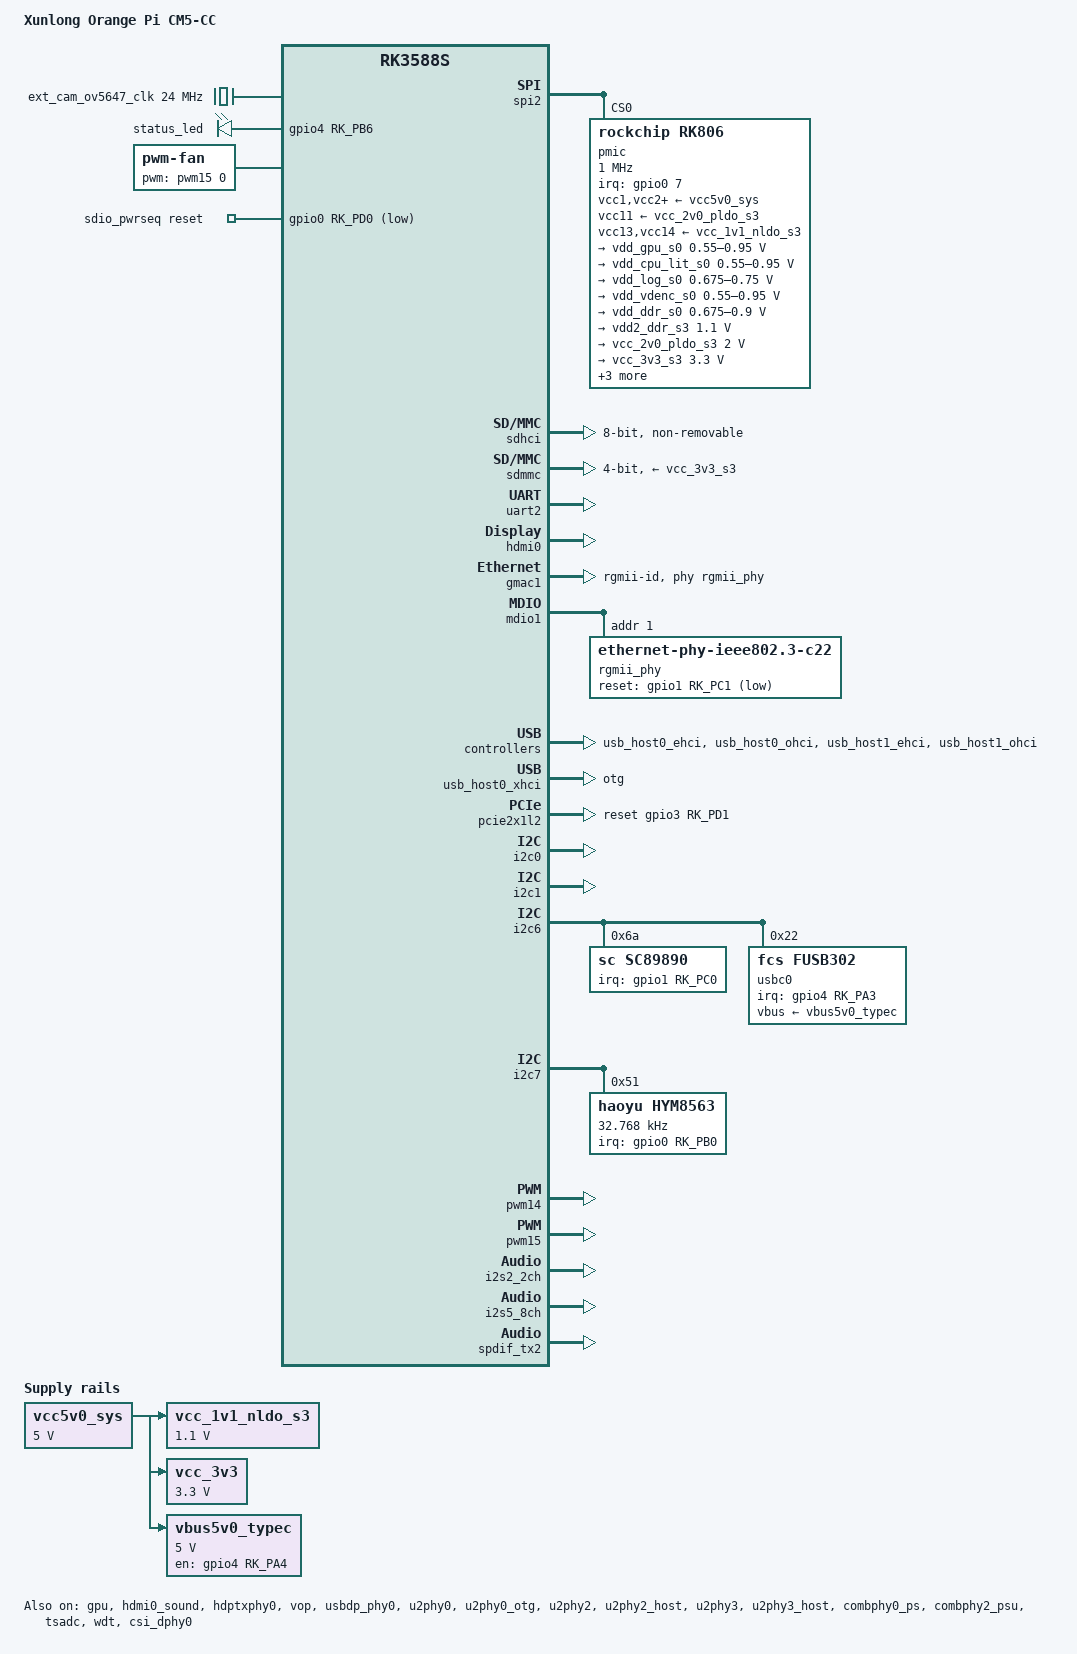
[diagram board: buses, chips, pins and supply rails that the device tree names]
// SPDX-License-Identifier: (GPL-2.0+ OR MIT)
/*
 * Device Tree for Orange Pi CM5-CC carrier board + CM5 SoM (RK3588S)
 *
 * Phase 1 baseline: serial, eMMC, HDMI, USB host, Ethernet, SD card.
 * Phase 2 additions: CSI camera, CAN, SPI, UART headers, ES8388 audio,
 *                    MIPI DSI touch, USB-C PD, SDIO Wi-Fi/BT, PCIe.
 *
 * SoM-level PMIC (RK806 via SPI2) and CPU regulators are defined here
 * because the SoM DTSI was not yet merged in the 6.18 mainline baseline.
 */

/dts-v1/;

#include <dt-bindings/gpio/gpio.h>
#include <dt-bindings/input/input.h>
#include <dt-bindings/interrupt-controller/irq.h>
#include <dt-bindings/pinctrl/rockchip.h>
#include <dt-bindings/pwm/pwm.h>
#include <dt-bindings/soc/rockchip,vop2.h>
#include <dt-bindings/usb/pd.h>

#include "rk3588s.dtsi"

/ {
	model = "Xunlong Orange Pi CM5-CC";
	compatible = "xunlong,orangepi-cm5-cc", "xunlong,orangepi-cm5",
		     "rockchip,rk3588s";

	aliases {
		ethernet0 = &gmac1;
		mmc0 = &sdhci;
		mmc1 = &sdmmc;
		serial0 = &uart2;
	};

	chosen {
		stdout-path = "serial2:1500000n8";
	};

	vcc5v0_sys: regulator-vcc-5v0 {
		compatible = "regulator-fixed";
		regulator-name = "vcc5v0_sys";
		regulator-always-on;
		regulator-boot-on;
		regulator-min-microvolt = <5000000>;
		regulator-max-microvolt = <5000000>;
	};

	vcc_1v1_nldo_s3: regulator-vcc-1v1-nldo-s3 {
		compatible = "regulator-fixed";
		regulator-name = "vcc_1v1_nldo_s3";
		regulator-always-on;
		regulator-boot-on;
		regulator-min-microvolt = <1100000>;
		regulator-max-microvolt = <1100000>;
		vin-supply = <&vcc5v0_sys>;
	};

	vcc_3v3: regulator-vcc-3v3 {
		compatible = "regulator-fixed";
		regulator-name = "vcc_3v3";
		regulator-always-on;
		regulator-boot-on;
		regulator-min-microvolt = <3300000>;
		regulator-max-microvolt = <3300000>;
		vin-supply = <&vcc5v0_sys>;
	};

	ext_cam_ov5647_clk: clk-ext-camera {
		compatible = "fixed-clock";
		#clock-cells = <0>;
		clock-frequency = <24000000>;
	};

	es8388_sound: es8388-sound {
		status = "disabled";
		compatible = "rockchip,multicodecs-card";
		rockchip,card-name = "rockchip,es8388";
		hp-det-gpio = <&gpio3 RK_PC6 GPIO_ACTIVE_HIGH>;
		io-channels = <&saradc 3>;
		io-channel-names = "adc-detect";
		keyup-threshold-microvolt = <1800000>;
		poll-interval = <100>;
		hp-con-gpio = <&gpio0 RK_PC2 GPIO_ACTIVE_HIGH>;
		rockchip,format = "i2s";
		rockchip,mclk-fs = <256>;
		rockchip,cpu = <&i2s2_2ch>;
		rockchip,codec = <&es8388>;
		rockchip,audio-routing =
			"Headphone", "LOUT1",
			"Headphone", "ROUT1",
			"Headphone", "Headphone Power",
			"Headphone", "Headphone Power",
			"LINPUT1", "Main Mic",
			"LINPUT2", "Main Mic",
			"RINPUT1", "Headset Mic",
			"RINPUT2", "Headset Mic";
		pinctrl-names = "default";
		pinctrl-0 = <&hp_det>;
		play-pause-key {
			label = "playpause";
			linux,code = <KEY_PLAYPAUSE>;
			press-threshold-microvolt = <2000>;
		};
	};

	leds: gpio-leds {
		compatible = "gpio-leds";
		pinctrl-names = "default";
		pinctrl-0 = <&led_gpio>;
		status = "okay";

		led@1 {
			gpios = <&gpio4 RK_PB6 GPIO_ACTIVE_HIGH>;
			label = "status_led";
			linux,default-trigger = "heartbeat";
		};
	};

	fan: pwm-fan {
		compatible = "pwm-fan";
		#cooling-cells = <2>;
		pwms = <&pwm15 0 50000 0>;
		cooling-levels = <0 50 100 150 200 255>;
		rockchip,temp-trips = <
			40000   2
			50000   3
			55000   4
			60000   5
			65000   5
			70000   5
		>;
	};

	sdio_pwrseq: sdio-pwrseq {
		compatible = "mmc-pwrseq-simple";
		clocks = <&hym8563>;
		clock-names = "ext_clock";
		pinctrl-names = "default";
		pinctrl-0 = <&wifi_enable_h>;
		post-power-on-delay-ms = <200>;
		reset-gpios = <&gpio0 RK_PD0 GPIO_ACTIVE_LOW>;
	};

	wireless_bluetooth: wireless-bluetooth {
		compatible = "bluetooth-platdata";
		clocks = <&hym8563>;
		clock-names = "ext_clock";
		uart_rts_gpios = <&gpio3 RK_PD2 GPIO_ACTIVE_LOW>;
		pinctrl-names = "default", "rts_gpio";
		pinctrl-0 = <&uart9m2_rtsn>,  <&bt_reset_gpio>, <&bt_wake_gpio>, <&bt_irq_gpio>;
		pinctrl-1 = <&uart9_gpios>;
		BT,reset_gpio    = <&gpio0 RK_PD3 GPIO_ACTIVE_HIGH>;
		BT,wake_gpio     = <&gpio0 RK_PC6 GPIO_ACTIVE_HIGH>;
		BT,wake_host_irq = <&gpio0 RK_PC5 GPIO_ACTIVE_HIGH>;
		status = "disabled";
	};

	wireless_wlan: wireless-wlan {
		compatible = "wlan-platdata";
		wifi_chip_type = "ap6256";
		pinctrl-names = "default";
		pinctrl-0 = <&wifi_host_wake_irq>;
		WIFI,host_wake_irq = <&gpio0 RK_PA0 GPIO_ACTIVE_HIGH>;
		WIFI,poweren_gpio = <&gpio0 RK_PD0 GPIO_ACTIVE_HIGH>;
		status = "disabled";
	};

	vbus5v0_typec: regulator-vbus-5v0-typec {
		compatible = "regulator-fixed";
		regulator-name = "vbus5v0_typec";
		regulator-min-microvolt = <5000000>;
		regulator-max-microvolt = <5000000>;
		enable-active-high;
		gpio = <&gpio4 RK_PA4 GPIO_ACTIVE_HIGH>;
		vin-supply = <&vcc5v0_sys>;
		pinctrl-names = "default";
		pinctrl-0 = <&typec5v_pwren>;
	};
};

/* ========== SoM-level: RK806 PMIC via SPI2 ========== */
&spi2 {
	status = "okay";
	assigned-clocks = <&cru CLK_SPI2>;
	assigned-clock-rates = <200000000>;
	pinctrl-names = "default";
	pinctrl-0 = <&spi2m2_cs0 &spi2m2_pins>;
	num-cs = <1>;

	pmic@0 {
		compatible = "rockchip,rk806";
		reg = <0x0>;
		interrupt-parent = <&gpio0>;
		interrupts = <7 IRQ_TYPE_LEVEL_LOW>;
		spi-max-frequency = <1000000>;
		system-power-controller;

		vcc1-supply = <&vcc5v0_sys>;
		vcc2-supply = <&vcc5v0_sys>;
		vcc3-supply = <&vcc5v0_sys>;
		vcc4-supply = <&vcc5v0_sys>;
		vcc5-supply = <&vcc5v0_sys>;
		vcc6-supply = <&vcc5v0_sys>;
		vcc7-supply = <&vcc5v0_sys>;
		vcc8-supply = <&vcc5v0_sys>;
		vcc9-supply = <&vcc5v0_sys>;
		vcc10-supply = <&vcc5v0_sys>;
		vcc11-supply = <&vcc_2v0_pldo_s3>;
		vcc12-supply = <&vcc5v0_sys>;
		vcc13-supply = <&vcc_1v1_nldo_s3>;
		vcc14-supply = <&vcc_1v1_nldo_s3>;

		regulators {
			vdd_gpu_s0: dcdc-reg1 {
				regulator-name = "vdd_gpu_s0";
				regulator-boot-on;
				regulator-min-microvolt = <550000>;
				regulator-max-microvolt = <950000>;
				regulator-ramp-delay = <12500>;

				regulator-state-mem {
					regulator-off-in-suspend;
				};
			};

			vdd_cpu_lit_s0: dcdc-reg2 {
				regulator-name = "vdd_cpu_lit_s0";
				regulator-always-on;
				regulator-boot-on;
				regulator-min-microvolt = <550000>;
				regulator-max-microvolt = <950000>;
				regulator-ramp-delay = <12500>;

				regulator-state-mem {
					regulator-off-in-suspend;
				};
			};

			vdd_log_s0: dcdc-reg3 {
				regulator-name = "vdd_log_s0";
				regulator-always-on;
				regulator-boot-on;
				regulator-min-microvolt = <675000>;
				regulator-max-microvolt = <750000>;
				regulator-ramp-delay = <12500>;

				regulator-state-mem {
					regulator-off-in-suspend;
					regulator-suspend-microvolt = <750000>;
				};
			};

			vdd_vdenc_s0: dcdc-reg4 {
				regulator-name = "vdd_vdenc_s0";
				regulator-always-on;
				regulator-boot-on;
				regulator-min-microvolt = <550000>;
				regulator-max-microvolt = <950000>;
				regulator-ramp-delay = <12500>;

				regulator-state-mem {
					regulator-off-in-suspend;
				};
			};

			vdd_ddr_s0: dcdc-reg5 {
				regulator-name = "vdd_ddr_s0";
				regulator-always-on;
				regulator-boot-on;
				regulator-min-microvolt = <675000>;
				regulator-max-microvolt = <900000>;
				regulator-ramp-delay = <12500>;

				regulator-state-mem {
					regulator-off-in-suspend;
					regulator-suspend-microvolt = <850000>;
				};
			};

			vdd2_ddr_s3: dcdc-reg6 {
				regulator-name = "vdd2_ddr_s3";
				regulator-always-on;
				regulator-boot-on;
				regulator-min-microvolt = <1100000>;
				regulator-max-microvolt = <1100000>;

				regulator-state-mem {
					regulator-on-in-suspend;
				};
			};

			vcc_2v0_pldo_s3: dcdc-reg7 {
				regulator-name = "vcc_2v0_pldo_s3";
				regulator-always-on;
				regulator-boot-on;
				regulator-min-microvolt = <2000000>;
				regulator-max-microvolt = <2000000>;

				regulator-state-mem {
					regulator-on-in-suspend;
					regulator-suspend-microvolt = <2000000>;
				};
			};

			vcc_3v3_s3: dcdc-reg8 {
				regulator-name = "vcc_3v3_s3";
				regulator-always-on;
				regulator-boot-on;
				regulator-min-microvolt = <3300000>;
				regulator-max-microvolt = <3300000>;

				regulator-state-mem {
					regulator-on-in-suspend;
					regulator-suspend-microvolt = <3300000>;
				};
			};

			vddq_ddr_s0: dcdc-reg9 {
				regulator-name = "vddq_ddr_s0";
				regulator-always-on;
				regulator-boot-on;

				regulator-state-mem {
					regulator-off-in-suspend;
				};
			};

			vcc_1v8_s3: dcdc-reg10 {
				regulator-name = "vcc_1v8_s3";
				regulator-always-on;
				regulator-boot-on;
				regulator-min-microvolt = <1800000>;
				regulator-max-microvolt = <1800000>;

				regulator-state-mem {
					regulator-on-in-suspend;
					regulator-suspend-microvolt = <1800000>;
				};
			};

			avcc_1v8_s0: pldo-reg1 {
				regulator-name = "avcc_1v8_s0";
				regulator-always-on;
				regulator-boot-on;
				regulator-min-microvolt = <1800000>;
				regulator-max-microvolt = <1800000>;

				regulator-state-mem {
					regulator-off-in-suspend;
				};
			};

			vcc_1v8_s0: pldo-reg2 {
				regulator-name = "vcc_1v8_s0";
				regulator-always-on;
				regulator-boot-on;
				regulator-min-microvolt = <1800000>;
				regulator-max-microvolt = <1800000>;

				regulator-state-mem {
					regulator-off-in-suspend;
					regulator-suspend-microvolt = <1800000>;
				};
			};

			avdd_1v2_s0: pldo-reg3 {
				regulator-name = "avdd_1v2_s0";
				regulator-always-on;
				regulator-boot-on;
				regulator-min-microvolt = <1200000>;
				regulator-max-microvolt = <1200000>;

				regulator-state-mem {
					regulator-off-in-suspend;
				};
			};

			vcc_3v3_s0: pldo-reg4 {
				regulator-name = "vcc_3v3_s0";
				regulator-always-on;
				regulator-boot-on;
				regulator-min-microvolt = <3300000>;
				regulator-max-microvolt = <3300000>;

				regulator-state-mem {
					regulator-off-in-suspend;
				};
			};

			vccio_sd_s0: pldo-reg5 {
				regulator-name = "vccio_sd_s0";
				regulator-always-on;
				regulator-boot-on;
				regulator-min-microvolt = <1800000>;
				regulator-max-microvolt = <3300000>;

				regulator-state-mem {
					regulator-off-in-suspend;
				};
			};

			pldo6_s3: pldo-reg6 {
				regulator-name = "pldo6_s3";
				regulator-always-on;
				regulator-boot-on;
				regulator-min-microvolt = <1800000>;
				regulator-max-microvolt = <1800000>;

				regulator-state-mem {
					regulator-on-in-suspend;
					regulator-suspend-microvolt = <1800000>;
				};
			};

			vdd_0v75_s3: nldo-reg1 {
				regulator-name = "vdd_0v75_s3";
				regulator-always-on;
				regulator-boot-on;
				regulator-min-microvolt = <750000>;
				regulator-max-microvolt = <750000>;

				regulator-state-mem {
					regulator-on-in-suspend;
					regulator-suspend-microvolt = <750000>;
				};
			};

			vdd_ddr_pll_s0: nldo-reg2 {
				regulator-name = "vdd_ddr_pll_s0";
				regulator-always-on;
				regulator-boot-on;
				regulator-min-microvolt = <850000>;
				regulator-max-microvolt = <850000>;

				regulator-state-mem {
					regulator-off-in-suspend;
					regulator-suspend-microvolt = <850000>;
				};
			};

			avdd_0v75_s0: nldo-reg3 {
				regulator-name = "avdd_0v75_s0";
				regulator-always-on;
				regulator-boot-on;
				regulator-min-microvolt = <750000>;
				regulator-max-microvolt = <750000>;

				regulator-state-mem {
					regulator-off-in-suspend;
				};
			};

			vdd_0v85_s0: nldo-reg4 {
				regulator-name = "vdd_0v85_s0";
				regulator-always-on;
				regulator-boot-on;
				regulator-min-microvolt = <850000>;
				regulator-max-microvolt = <850000>;

				regulator-state-mem {
					regulator-off-in-suspend;
				};
			};

			vdd_0v75_s0: nldo-reg5 {
				regulator-name = "vdd_0v75_s0";
				regulator-always-on;
				regulator-boot-on;
				regulator-min-microvolt = <750000>;
				regulator-max-microvolt = <750000>;

				regulator-state-mem {
					regulator-off-in-suspend;
				};
			};
		};
	};
};

/* ========== CPU regulators ========== */
&cpu_b0 {
	cpu-supply = <&vdd_cpu_lit_s0>;
};

&cpu_b1 {
	cpu-supply = <&vdd_cpu_lit_s0>;
};

&cpu_b2 {
	cpu-supply = <&vdd_cpu_lit_s0>;
};

&cpu_b3 {
	cpu-supply = <&vdd_cpu_lit_s0>;
};

&cpu_l0 {
	cpu-supply = <&vdd_cpu_lit_s0>;
};

&cpu_l1 {
	cpu-supply = <&vdd_cpu_lit_s0>;
};

&cpu_l2 {
	cpu-supply = <&vdd_cpu_lit_s0>;
};

&cpu_l3 {
	cpu-supply = <&vdd_cpu_lit_s0>;
};

&gpu {
	mali-supply = <&vdd_gpu_s0>;
	status = "okay";
};

/* ========== Boot / storage ========== */
&sdhci {
	bus-width = <8>;
	no-sdio;
	no-sd;
	non-removable;
	max-frequency = <200000000>;
	mmc-hs400-1_8v;
	mmc-hs400-enhanced-strobe;
	status = "okay";
};

&sdmmc {
	max-frequency = <150000000>;
	no-sdio;
	no-mmc;
	bus-width = <4>;
	cap-mmc-highspeed;
	cap-sd-highspeed;
	disable-wp;
	sd-uhs-sdr104;
	vmmc-supply = <&vcc_3v3_s3>;
	vqmmc-supply = <&vccio_sd_s0>;
	status = "okay";
};

/* ========== Debug serial ========== */
&uart2 {
	pinctrl-names = "default";
	pinctrl-0 = <&uart2m0_xfer>;
	status = "okay";
};

/* ========== HDMI + DP ========== */
&hdmi0 {
	status = "okay";
};

&hdmi0_in {
	hdmi0_in_vp0: endpoint {
		remote-endpoint = <&vp0_out_hdmi0>;
	};
};

&hdmi0_sound {
	status = "okay";
};

&hdptxphy0 {
	status = "okay";
};

&vop {
	status = "okay";
};

&vop_mmu {
	status = "okay";
};

&vp0 {
	vp0_out_hdmi0: endpoint@ROCKCHIP_VOP2_EP_HDMI0 {
		reg = <ROCKCHIP_VOP2_EP_HDMI0>;
		remote-endpoint = <&hdmi0_in_vp0>;
	};
};

/* ========== Ethernet ========== */
&gmac1 {
	clock_in_out = "output";
	phy-handle = <&rgmii_phy>;
	phy-mode = "rgmii-id";
	pinctrl-names = "default";
	pinctrl-0 = <&gmac1_miim
		     &gmac1_tx_bus2
		     &gmac1_rx_bus2
		     &gmac1_rgmii_clk
		     &gmac1_rgmii_bus>;
	status = "okay";
};

&mdio1 {
	rgmii_phy: ethernet-phy@1 {
		compatible = "ethernet-phy-ieee802.3-c22";
		reg = <0x1>;
		pinctrl-names = "default";
		pinctrl-0 = <&rgmii_phy_reset>;
		reset-assert-us = <20000>;
		reset-deassert-us = <100000>;
		reset-gpios = <&gpio1 RK_PC1 GPIO_ACTIVE_LOW>;
	};
};

/* ========== USB ========== */
&usb_host0_ehci {
	status = "okay";
};

&usb_host0_ohci {
	status = "okay";
};

&usb_host0_xhci {
	dr_mode = "otg";
	status = "okay";
};

&usbdp_phy0 {
	status = "okay";
};

&u2phy0 {
	status = "okay";
};

&u2phy0_otg {
	status = "okay";
};

&u2phy2 {
	status = "okay";
};

&u2phy2_host {
	status = "okay";
};

&u2phy3 {
	status = "okay";
};

&u2phy3_host {
	status = "okay";
};

&usb_host1_ehci {
	status = "okay";
};

&usb_host1_ohci {
	status = "okay";
};

&combphy0_ps {
	status = "okay";
};

&combphy2_psu {
	status = "okay";
};

/* ========== PCIe ========== */
&pcie2x1l2 {
	reset-gpios = <&gpio3 RK_PD1 GPIO_ACTIVE_HIGH>;
	status = "okay";
};

/* ========== SDIO Wi-Fi/BT ========== */
&sdio {
	max-frequency = <150000000>;
	no-sd;
	no-mmc;
	bus-width = <4>;
	disable-wp;
	cap-sd-highspeed;
	cap-sdio-irq;
	keep-power-in-suspend;
	mmc-pwrseq = <&sdio_pwrseq>;
	non-removable;
	pinctrl-names = "default";
	pinctrl-0 = <&sdiom1_pins>;
	sd-uhs-sdr104;
	status = "disabled";
};

/* ========== UARTs (40-pin header) ========== */
&uart1 {
	status = "disabled";
	pinctrl-0 = <&uart1m1_xfer>;
};

&uart4 {
	status = "disabled";
	pinctrl-names = "default";
	pinctrl-0 = <&uart4m2_xfer>;
};

&uart6 {
	status = "disabled";
	pinctrl-0 = <&uart6m2_xfer>;
};

&uart7 {
	status = "disabled";
	pinctrl-0 = <&uart7m2_xfer>;
};

&uart9 {
	status = "disabled";
	pinctrl-names = "default";
	pinctrl-0 = <&uart9m2_xfer &uart9m2_ctsn>;
};

/* ========== PWM expansion pins ========== */
&pwm0 {
	pinctrl-names = "active";
	pinctrl-0 = <&pwm0m1_pins>;
	status = "disabled";
};

&pwm1 {
	pinctrl-names = "active";
	pinctrl-0 = <&pwm1m2_pins>;
	status = "disabled";
};

&pwm3 {
	status = "disabled";
	pinctrl-0 = <&pwm3m3_pins>;
};

&pwm13 {
	pinctrl-names = "active";
	pinctrl-0 = <&pwm13m2_pins>;
	status = "disabled";
};

/* ========== SPI ========== */
&spi0 {
	status = "disabled";
	assigned-clocks = <&cru CLK_SPI0>;
	assigned-clock-rates = <200000000>;
	num-cs = <2>;
};

&spi1 {
	status = "disabled";
	assigned-clocks = <&cru CLK_SPI1>;
	assigned-clock-rates = <200000000>;
};

/* ========== MIPI DSI (via overlay) ========== */
&dsi1 {
	status = "disabled";
};

/* ========== I2C / RTC ========== */
&i2c0 {
	status = "okay";
	pinctrl-names = "default";
	pinctrl-0 = <&i2c0m2_xfer>;
};

&i2c1 {
	status = "okay";
	pinctrl-names = "default";
	pinctrl-0 = <&i2c1m2_xfer>;

	/*
	 * CSI camera sensors on I2C1 (disabled by default, enable via overlay).
	 *
	 * Full ISP pipeline requires vendor driver backport for:
	 *   mipi2_csi2, rkcif_mipi_lvds2, rkisp0_vir1, rkcif, rkisp0
	 * These are NOT available in mainline 6.18 for RK3588.
	 * The sensor definition here validates I2C probe only.
	 * Once ISP pipeline drivers are backported, add remote-endpoint
	 * references from the sensor port to the CSI-2 receiver's endpoint.
	 */
	ov5647_cam1: ov5647-cam1@36 {
		status = "disabled";
		compatible = "ovti,ov5647";
		reg = <0x36>;
		clocks = <&ext_cam_ov5647_clk>;
		clock-names = "xvclk";
		pwdn-gpios = <&gpio3 RK_PB0 GPIO_ACTIVE_HIGH>;
		rockchip,camera-module-index = <0>;
		rockchip,camera-module-facing = "back";
		rockchip,camera-module-name = "rpi-camera-v1";
		rockchip,camera-module-lens-name = "default";
		port {
			ov5647_out: endpoint {
				data-lanes = <1 2>;
			};
		};
	};

	imx219_cam1: imx219-cam1@10 {
		status = "disabled";
		compatible = "sony,imx219";
		reg = <0x10>;
		clocks = <&ext_cam_ov5647_clk>;
		clock-names = "xvclk";
		pwdn-gpios = <&gpio3 RK_PB0 GPIO_ACTIVE_HIGH>;
		rockchip,camera-module-index = <0>;
		rockchip,camera-module-facing = "back";
		rockchip,camera-module-name = "rpi-camera-v2";
		rockchip,camera-module-lens-name = "default";
		port {
			imx219_out: endpoint {
				data-lanes = <1 2>;
			};
		};
	};
};

&i2c3 {
	status = "disabled";
	pinctrl-names = "default";
	pinctrl-0 = <&i2c3m1_xfer>;

	es8388: es8388@11 {
		status = "disabled";
		#sound-dai-cells = <0>;
		compatible = "everest,es8388", "everest,es8328";
		reg = <0x11>;
		clocks = <&cru I2S0_8CH_MCLKOUT>;
		clock-names = "mclk";
		assigned-clocks = <&cru I2S0_8CH_MCLKOUT>;
		assigned-clock-rates = <12288000>;
		pinctrl-names = "default";
		pinctrl-0 = <&i2s2m1_mclk>;
	};
};

&i2c6 {
	status = "okay";
	pinctrl-names = "default";
	pinctrl-0 = <&i2c6m3_xfer>;

	sc89890: sc89890@6a {
		compatible = "sc,sc89890";
		reg = <0x6a>;
		status = "okay";
		pinctrl-names = "default";
		pinctrl-0 = <&charger_ok>;

		interrupt-parent = <&gpio1>;
		interrupts = <RK_PC0 IRQ_TYPE_EDGE_FALLING>;

		sc,battery-regulation-voltage = <4350000>;
		sc,charge-current = <4000000>;
		sc,termination-current = <100000>;
		sc,precharge-current = <500000>;
		sc,minimum-sys-voltage = <3400000>;
		sc,thermal-regulation-threshold = <4000000>;
		sc,ibatcomp-clamp-microvolt = <100000>;
		sc,ibatcomp-micro-ohms = <20>;
	};

	usbc0: fusb302@22 {
		compatible = "fcs,fusb302";
		reg = <0x22>;
		interrupt-parent = <&gpio4>;
		interrupts = <RK_PA3 IRQ_TYPE_LEVEL_LOW>;
		pinctrl-names = "default";
		pinctrl-0 = <&usbc0_int>;
		vbus-supply = <&vbus5v0_typec>;
		status = "okay";

		usb_con: connector {
			compatible = "usb-c-connector";
			label = "USB-C";
			data-role = "dual";
			power-role = "dual";
			try-power-role = "sink";
			op-sink-microwatt = <1000000>;
			sink-pdos = <PDO_FIXED(5000, 1000, PDO_FIXED_USB_COMM)>;
			source-pdos = <PDO_FIXED(5000, 3000, PDO_FIXED_USB_COMM)>;
		};
	};
};

&i2c7 {
	status = "okay";
	pinctrl-names = "default";
	pinctrl-0 = <&i2c7m3_xfer>;

	hym8563: hym8563@51 {
		compatible = "haoyu,hym8563";
		reg = <0x51>;
		#clock-cells = <0>;
		clock-frequency = <32768>;
		clock-output-names = "hym8563";
		interrupt-parent = <&gpio0>;
		interrupts = <RK_PB0 IRQ_TYPE_LEVEL_LOW>;
		pinctrl-names = "default";
		pinctrl-0 = <&hym8563_int>;
		wakeup-source;
		status = "okay";
	};
};

/* ========== Thermal / watchdog ========== */
&tsadc {
	status = "okay";
};

&wdt {
	status = "okay";
};

/* ========== PWM (backlight, fan) ========== */
&pwm14 {
	status = "okay";
	pinctrl-names = "active";
	pinctrl-0 = <&pwm14m0_pins>;
};

&pwm15 {
	status = "okay";
	pinctrl-names = "active";
	pinctrl-0 = <&pwm15m2_pins>;
};

/* ========== Audio (I2S, SPDIF) ========== */
&i2s2_2ch {
	status = "okay";
	pinctrl-0 = <&i2s2m1_lrck
		     &i2s2m1_sclk
		     &i2s2m1_sdi
		     &i2s2m1_sdo>;
};

&i2s5_8ch {
	status = "okay";
};

&spdif_tx2 {
	status = "okay";
};

/* ========== Pin control ========== */
&pinctrl {
	camera {
		cam1_pwdn: cam1-pwdn {
			rockchip,pins = <3 RK_PB0 RK_FUNC_GPIO &pcfg_pull_none>;
		};
	};

	rtc {
		hym8563_int: hym8563-int {
			rockchip,pins = <0 RK_PB0 RK_FUNC_GPIO &pcfg_pull_up>;
		};
	};

	usb {
		typec5v_pwren: typec5v-pwren {
			rockchip,pins = <4 RK_PA4 RK_FUNC_GPIO &pcfg_pull_none>;
		};

		usbc0_int: usbc0-int {
			rockchip,pins = <4 RK_PA3 RK_FUNC_GPIO &pcfg_pull_up>;
		};
	};

	eth {
		rgmii_phy_reset: rgmii-phy-reset {
			rockchip,pins = <1 RK_PC1 RK_FUNC_GPIO &pcfg_pull_none>;
		};
	};

	headphone {
		hp_det: hp-det {
			rockchip,pins = <3 RK_PC6 RK_FUNC_GPIO &pcfg_pull_none>;
		};
	};

	leds {
		led_gpio: led-gpio {
			rockchip,pins = <4 RK_PB6 RK_FUNC_GPIO &pcfg_pull_none>;
		};
	};

	charger {
		charger_ok: charger-ok {
			rockchip,pins = <1 RK_PC0 RK_FUNC_GPIO &pcfg_pull_up>;
		};
	};

	sdio-pwrseq {
		wifi_enable_h: wifi-enable-h {
			rockchip,pins = <0 RK_PD0 RK_FUNC_GPIO &pcfg_pull_none>;
		};
	};

	wireless-bluetooth {
		uart9_gpios: uart9-gpios {
			rockchip,pins = <3 RK_PD2 RK_FUNC_GPIO &pcfg_pull_none>;
		};

		bt_reset_gpio: bt-reset-gpio {
			rockchip,pins = <0 RK_PD3 RK_FUNC_GPIO &pcfg_pull_none>;
		};

		bt_wake_gpio: bt-wake-gpio {
			rockchip,pins = <0 RK_PC6 RK_FUNC_GPIO &pcfg_pull_none>;
		};

		bt_irq_gpio: bt-irq-gpio {
			rockchip,pins = <0 RK_PC5 RK_FUNC_GPIO &pcfg_pull_up>;
		};
	};

	wireless-wlan {
		wifi_host_wake_irq: wifi-host-wake-irq {
			rockchip,pins = <0 RK_PA0 RK_FUNC_GPIO &pcfg_pull_up>;
		};
	};
};

/* ========== Camera / CSI ========== */
/* CSI D-PHY0 physical layer */
&csi_dphy0 {
	status = "okay";
};
